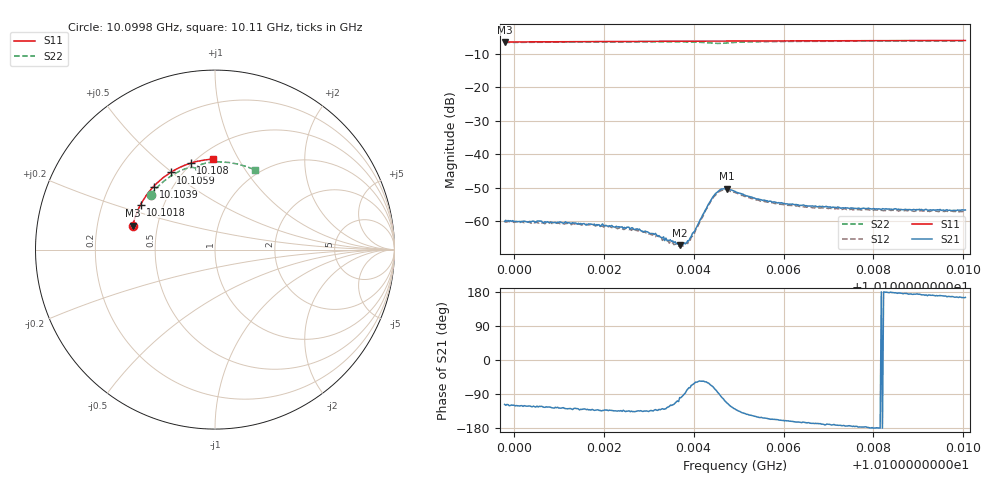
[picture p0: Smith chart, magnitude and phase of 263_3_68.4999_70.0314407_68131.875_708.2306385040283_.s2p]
#  HZ  S  RI  R  50.00
! Rohde & Schwarz Vector Network Analyzer
! Rohde-Schwarz,ZNB20-2Port,1311601062101988,3.16
! Created: UTC 3/20/2024, 5:00:21 PM
! freq[Hz]  re:S11  im:S11  re:S21  im:S21  re:S12  im:S12  re:S22  im:S22
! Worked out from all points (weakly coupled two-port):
!   401 points, 10.0998 GHz to 10.11 GHz, reference 50 ohm
!   highest |S21| = -50.23 dB at 10.1047 GHz (marker M1); lowest = -67.2 dB at 10.1037 GHz (marker M2)
!   lowest |S11| = -6.4 dB at 10.0998 GHz (marker M3), VSWR 2.83, Z = 18 + j6.22 ohm
!   |S11| at or under -10 dB: nowhere
!   |S22| runs from -6.8 to -6.1 dB; largest |S21 - S12| = 0.00031
!   S11 on the Smith chart (normalised r, x): 10.0998 GHz: 0.36, +0.12; 10.1018 GHz: 0.37, +0.24; 10.1039 GHz: 0.39, +0.36; 10.1059 GHz: 0.43, +0.49; 10.108 GHz: 0.49, +0.63; 10.11 GHz: 0.58, +0.79
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1.009979e10  -0.4588 0.1335  -0.000454 -0.000889  -0.000421 -0.000884  -0.358 0.3054
1.010056e10  -0.4459 0.1786  -0.000538 -0.000851  -0.000465 -0.00082  -0.3258 0.343
1.010151e10  -0.4241 0.2321  -0.000589 -0.000692  -0.000517 -0.000711  -0.2805 0.3844
1.010184e10  -0.4151 0.2504  -0.000598 -0.000664  -0.000546 -0.000682  -0.2633 0.3974
1.010259e10  -0.3918 0.289  -0.000553 -0.000527  -0.000505 -0.000581  -0.2225 0.424
1.010323e10  -0.3691 0.3207  -0.000395 -0.000466  -0.000338 -0.000484  -0.1838 0.4432
1.010336e10  -0.3643 0.3265  -0.000328 -0.000397  -0.00028 -0.000449  -0.1758 0.4465
1.010369e10  -0.351 0.3421  -7.01e-05 -0.000431  -6.28e-05 -0.000428  -0.1533 0.454
1.010379e10  -0.347 0.3468  3.61e-06 -0.000477  5.19e-05 -0.00045  -0.1461 0.4559
1.01039e10  -0.3426 0.3512  0.000151 -0.000493  0.00018 -0.000489  -0.1384 0.4572
1.010402e10  -0.3374 0.3568  0.000351 -0.00062  0.000377 -0.000556  -0.1287 0.4579
1.010431e10  -0.3251 0.3688  0.000844 -0.00145  0.000929 -0.00129  -0.1076 0.4529
1.010443e10  -0.3196 0.3742  0.000761 -0.00222  0.000914 -0.00205  -0.1026 0.4468
1.010459e10  -0.3128 0.3804  -0.000142 -0.00295  0.000106 -0.00281  -0.1047 0.4428
1.010474e10  -0.3057 0.3865  -0.00121 -0.00283  -0.000905 -0.00277  -0.1069 0.449
1.010492e10  -0.2976 0.3936  -0.00177 -0.00217  -0.00156 -0.00221  -0.1007 0.4601
1.010543e10  -0.273 0.4126  -0.00189 -0.00105  -0.0017 -0.00119  -0.0673 0.4776
1.010595e10  -0.2472 0.43  -0.00177 -0.000682  -0.00161 -0.000782  -0.0325 0.4849
1.010664e10  -0.2108 0.4507  -0.00166 -0.000376  -0.00151 -0.000509  0.0133 0.4886
1.0108e10  -0.1349 0.4818  -0.00155 -3.29e-06  -0.00144 -0.000195  0.1006 0.4819
1.010836e10  -0.114 0.4879  -0.00152 5.88e-05  -0.00148 -0.000124  0.1232 0.4773
1.011005e10  -0.0131 0.5034  -0.00143 0.000378  -0.00136 0.000237  0.2248 0.4422
